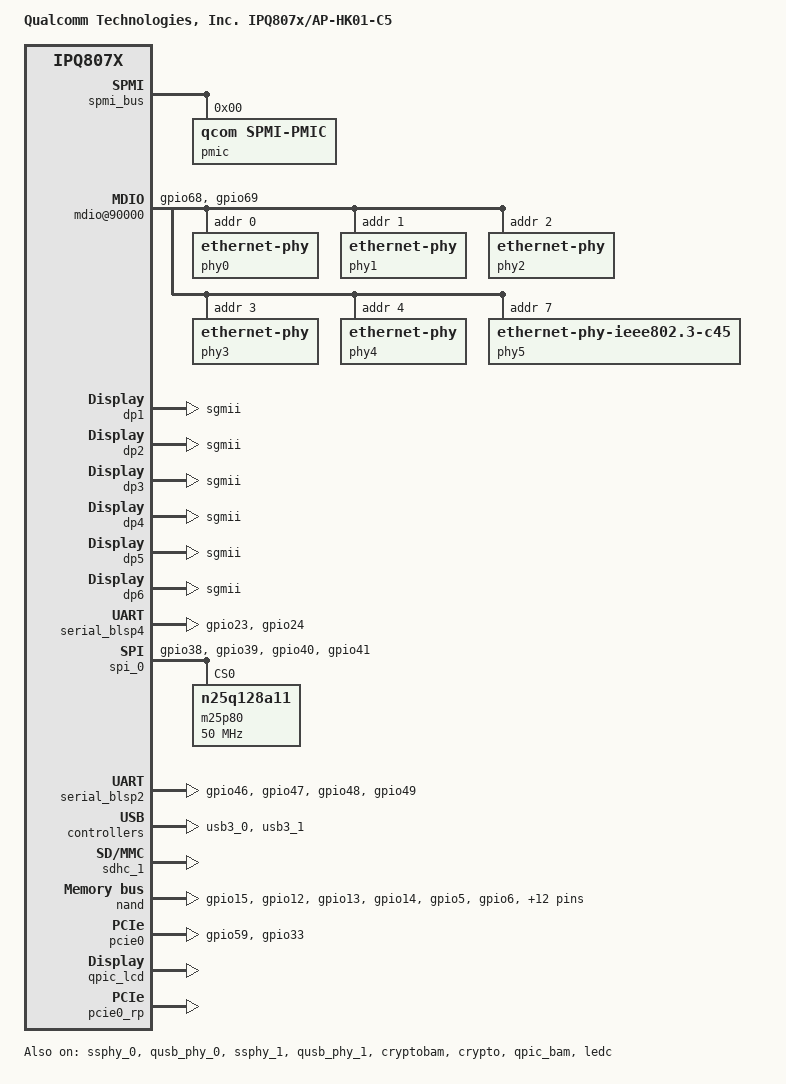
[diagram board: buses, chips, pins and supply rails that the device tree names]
/dts-v1/;
/*
 * Copyright (c) 2017-2019, The Linux Foundation. All rights reserved.
 *
 * Permission to use, copy, modify, and/or distribute this software for any
 * purpose with or without fee is hereby granted, provided that the above
 * copyright notice and this permission notice appear in all copies.
 *
 * THE SOFTWARE IS PROVIDED "AS IS" AND THE AUTHOR DISCLAIMS ALL WARRANTIES
 * WITH REGARD TO THIS SOFTWARE INCLUDING ALL IMPLIED WARRANTIES OF
 * MERCHANTABILITY AND FITNESS. IN NO EVENT SHALL THE AUTHOR BE LIABLE FOR
 * ANY SPECIAL, DIRECT, INDIRECT, OR CONSEQUENTIAL DAMAGES OR ANY DAMAGES
 * WHATSOEVER RESULTING FROM LOSS OF USE, DATA OR PROFITS, WHETHER IN AN
 * ACTION OF CONTRACT, NEGLIGENCE OR OTHER TORTIOUS ACTION, ARISING OUT OF
 * OR IN CONNECTION WITH THE USE OR PERFORMANCE OF THIS SOFTWARE.
 */
#include "qcom-ipq807x-soc.dtsi"
#include "qcom-ipq807x-hk-cpu.dtsi"
#include <dt-bindings/pinctrl/qcom,pmic-gpio.h>

/ {
	#address-cells = <0x2>;
	#size-cells = <0x2>;
	model = "Qualcomm Technologies, Inc. IPQ807x/AP-HK01-C5";
	compatible = "qcom,ipq807x-hk01", "qcom,ipq807x";
	qcom,msm-id = <0x143 0x0>, <0x158 0x0>, <0x186 0x0>, <0x188 0x0>;
	interrupt-parent = <&intc>;
	qcom,board-id = <0x8 0x0>;
	qcom,pmic-id = <0x0 0x0 0x0 0x0>;

	aliases {
		sdhc1 = &sdhc_1; /* SDC1 eMMC slot */
		/*
		 * Aliases as required by u-boot
		 * to patch MAC addresses
		 */
		ethernet0 = "/soc/dp1";
		ethernet1 = "/soc/dp2";
		ethernet2 = "/soc/dp3";
		ethernet3 = "/soc/dp4";
		ethernet4 = "/soc/dp5";
		ethernet5 = "/soc/dp6";
	};

	chosen {
		bootargs = "console=ttyMSM0,115200,n8 root=/dev/ram0 rw init=/init";
		bootargs-append = " swiotlb=1";
	};
};

&spmi_bus {
	pmic@0 {
		compatible ="qcom,spmi-pmic";
		reg = <0x0 SPMI_USID>;
		#address-cells = <1>;
		#size-cells = <0>;

		pmm8074_gpios: gpios@c000 {
			compatible = "qcom,pma8084-gpio";
			reg = <0xc000 0xc00>;
			gpio-controller;
			#gpio-cells = <2>;
			interrupts = <0 0xc0 0 IRQ_TYPE_NONE>,
				     <0 0xc1 0 IRQ_TYPE_NONE>,
				     <0 0xc2 0 IRQ_TYPE_NONE>,
				     <0 0xc3 0 IRQ_TYPE_NONE>,
				     <0 0xc4 0 IRQ_TYPE_NONE>,
				     <0 0xc5 0 IRQ_TYPE_NONE>,
				     <0 0xc6 0 IRQ_TYPE_NONE>,
				     <0 0xc7 0 IRQ_TYPE_NONE>,
				     <0 0xc8 0 IRQ_TYPE_NONE>,
				     <0 0xc9 0 IRQ_TYPE_NONE>,
				     <0 0xca 0 IRQ_TYPE_NONE>,
				     <0 0xcb 0 IRQ_TYPE_NONE>;
			pinctrl-0 = <&pmm8074_gpio>;
			pinctrl-names = "default";

			pmm8074_gpio: pmm8074_gpio {
				pinconf {
					pins = "gpio6";
					function = PMIC_GPIO_FUNC_NORMAL;
					bias-pull-up;
					output-high;
				};
			};
		};
	};
};

&tlmm {
	pinctrl-0 = <&pcie_sdx_gpio>;
	pinctrl-names = "default";
	pcie_sdx_gpio: pcie_sdx_gpio {
		ap2mdm_err_ftl {
			pins = "gpio27";
			function = "gpio";
			drive-strength = <8>;
			bias-pull-down;
		};
		sdx_pon_gpio {
			pins = "gpio30";
			function = "gpio";
			drive-strength = <8>;
			bias-pull-up;
			output-high;
		};
	};

	ap2mdm_status: ap2mdm_status {
		pins = "gpio26";
		function = "gpio";
		drive-strength = <8>;
		bias-pull-up;
		output-high;
	};

	mdm2ap_e911_status: mdm2ap_e911_status {
		pins = "gpio33";
		drive-strength = <8>;
		bias-pull-down;
	};

	pcie_wake_pins: pcie0_wake_gpio {
		pins = "gpio59";
		function = "pcie0_wake";
		drive-strength = <8>;
		bias-pull-up;
	};

	mdio_pins: mdio_pinmux {
		mux_0 {
			pins = "gpio68";
			function = "mdc";
			drive-strength = <8>;
			bias-pull-up;
		};
		mux_1 {
			pins = "gpio69";
			function = "mdio";
			drive-strength = <8>;
			bias-pull-up;
		};
	};

	uart_pins: uart_pins {
		mux {
			pins = "gpio23", "gpio24";
			function = "blsp4_uart1";
			drive-strength = <8>;
			bias-disable;
		};
	};

	spi_0_pins: spi_0_pins {
		mux {
			pins = "gpio38", "gpio39", "gpio40", "gpio41";
			function = "blsp0_spi";
			drive-strength = <8>;
			bias-disable;
		};
	};

	qpic_pins: qpic_pins {
		data_0 {
			pins = "gpio15";
			function = "qpic_pad0";
			drive-strength = <8>;
			bias-disable;
		};
		data_1 {
			pins = "gpio12";
			function = "qpic_pad1";
			drive-strength = <8>;
			bias-disable;
		};
		data_2 {
			pins = "gpio13";
			function = "qpic_pad2";
			drive-strength = <8>;
			bias-disable;
		};
		data_3 {
			pins = "gpio14";
			function = "qpic_pad3";
			drive-strength = <8>;
			bias-disable;
		};
		data_4 {
			pins = "gpio5";
			function = "qpic_pad4";
			drive-strength = <8>;
			bias-disable;
		};
		data_5 {
			pins = "gpio6";
			function = "qpic_pad5";
			drive-strength = <8>;
			bias-disable;
		};
		data_6 {
			pins = "gpio7";
			function = "qpic_pad6";
			drive-strength = <8>;
			bias-disable;
		};
		data_7 {
			pins = "gpio8";
			function = "qpic_pad7";
			drive-strength = <8>;
			bias-disable;
		};
		data_8 {
			pins = "gpio16";
			function = "qpic_pad8";
			drive-strength = <8>;
			bias-disable;
		};
		qpic_pad {
			pins = "gpio0", "gpio1", "gpio2", "gpio3", "gpio4",
			       "gpio9", "gpio10", "gpio11", "gpio17";
			function = "qpic_pad";
			drive-strength = <8>;
			bias-disable;
		};
	};

	hsuart_pins: hsuart_pins {
		mux {
			pins = "gpio46", "gpio47", "gpio48", "gpio49";
			function = "blsp2_uart";
			drive-strength = <8>;
			bias-disable;
		};
	};

	ledc_pins: ledc_pinmux {
		led_clk {
			pins = "gpio18";
			function = "led0";
			drive-strength = <8>;
			bias-pull-down;
		};
		led_data {
			pins = "gpio19";
			function = "led1";
			drive-strength = <8>;
			bias-pull-down;
		};
		led_clr {
			pins = "gpio20";
			function = "led2";
			drive-strength = <8>;
			bias-pull-up;
		};
	};
};

&soc {
	mdio@90000 {
		pinctrl-0 = <&mdio_pins>;
		pinctrl-names = "default";
		phy-reset-gpio = <&tlmm 37 0>;
		phy0: ethernet-phy@0 {
			reg = <0>;
		};
		phy1: ethernet-phy@1 {
			reg = <1>;
		};
		phy2: ethernet-phy@2 {
			reg = <2>;
		};
		phy3: ethernet-phy@3 {
			reg = <3>;
		};
		phy4: ethernet-phy@4 {
			reg = <4>;
		};
		phy5: ethernet-phy@5 {
			compatible ="ethernet-phy-ieee802.3-c45";
			reg = <7>;
		};
	};

	ess-switch@3a000000 {
		switch_cpu_bmp = <0x1>;  /* cpu port bitmap */
		switch_lan_bmp = <0x3e>; /* lan port bitmap */
		switch_wan_bmp = <0x40>; /* wan port bitmap */
		switch_mac_mode = <0x0>; /* mac mode for uniphy instance0*/
		switch_mac_mode1 = <0xff>; /* mac mode for uniphy instance1*/
		switch_mac_mode2 = <0xd>; /* mac mode for uniphy instance2*/
		bm_tick_mode = <0>; /* bm tick mode */
		tm_tick_mode = <0>; /* tm tick mode */
		port_scheduler_resource {
			port@0 {
				port_id = <0>;
				ucast_queue = <0 143>;
				mcast_queue = <256 271>;
				l0sp = <0 35>;
				l0cdrr = <0 47>;
				l0edrr = <0 47>;
				l1cdrr = <0 7>;
				l1edrr = <0 7>;
			};
			port@1 {
				port_id = <1>;
				ucast_queue = <144 159>;
				mcast_queue = <272 275>;
				l0sp = <36 39>;
				l0cdrr = <48 63>;
				l0edrr = <48 63>;
				l1cdrr = <8 11>;
				l1edrr = <8 11>;
			};
			port@2 {
				port_id = <2>;
				ucast_queue = <160 175>;
				mcast_queue = <276 279>;
				l0sp = <40 43>;
				l0cdrr = <64 79>;
				l0edrr = <64 79>;
				l1cdrr = <12 15>;
				l1edrr = <12 15>;
			};
			port@3 {
				port_id = <3>;
				ucast_queue = <176 191>;
				mcast_queue = <280 283>;
				l0sp = <44 47>;
				l0cdrr = <80 95>;
				l0edrr = <80 95>;
				l1cdrr = <16 19>;
				l1edrr = <16 19>;
			};
			port@4 {
				port_id = <4>;
				ucast_queue = <192 207>;
				mcast_queue = <284 287>;
				l0sp = <48 51>;
				l0cdrr = <96 111>;
				l0edrr = <96 111>;
				l1cdrr = <20 23>;
				l1edrr = <20 23>;
			};
			port@5 {
				port_id = <5>;
				ucast_queue = <208 223>;
				mcast_queue = <288 291>;
				l0sp = <52 55>;
				l0cdrr = <112 127>;
				l0edrr = <112 127>;
				l1cdrr = <24 27>;
				l1edrr = <24 27>;
			};
			port@6 {
				port_id = <6>;
				ucast_queue = <224 239>;
				mcast_queue = <292 295>;
				l0sp = <56 59>;
				l0cdrr = <128 143>;
				l0edrr = <128 143>;
				l1cdrr = <28 31>;
				l1edrr = <28 31>;
			};
			port@7 {
				port_id = <7>;
				ucast_queue = <240 255>;
				mcast_queue = <296 299>;
				l0sp = <60 63>;
				l0cdrr = <144 159>;
				l0edrr = <144 159>;
				l1cdrr = <32 35>;
				l1edrr = <32 35>;
			};
		};
		port_scheduler_config {
			port@0 {
				port_id = <0>;
				l1scheduler {
					group@0 {
						sp = <0 1>; /*L0 SPs*/
						/*cpri cdrr epri edrr*/
						cfg = <0 0 0 0>;
					};
				};
				l0scheduler {
					group@0 {
						/*unicast queues*/
						ucast_queue = <0 4 8>;
						/*multicast queues*/
						mcast_queue = <256 260>;
						/*sp cpri cdrr epri edrr*/
						cfg = <0 0 0 0 0>;
					};
					group@1 {
						ucast_queue = <1 5 9>;
						mcast_queue = <257 261>;
						cfg = <0 1 1 1 1>;
					};
					group@2 {
						ucast_queue = <2 6 10>;
						mcast_queue = <258 262>;
						cfg = <0 2 2 2 2>;
					};
					group@3 {
						ucast_queue = <3 7 11>;
						mcast_queue = <259 263>;
						cfg = <0 3 3 3 3>;
					};
				};
			};
			port@1 {
				port_id = <1>;
				l1scheduler {
					group@0 {
						sp = <36>;
						cfg = <0 8 0 8>;
					};
					group@1 {
						sp = <37>;
						cfg = <1 9 1 9>;
					};
				};
				l0scheduler {
					group@0 {
						ucast_queue = <144>;
						ucast_loop_pri = <16>;
						mcast_queue = <272>;
						mcast_loop_pri = <4>;
						cfg = <36 0 48 0 48>;
					};
				};
			};
			port@2 {
				port_id = <2>;
				l1scheduler {
					group@0 {
						sp = <40>;
						cfg = <0 12 0 12>;
					};
					group@1 {
						sp = <41>;
						cfg = <1 13 1 13>;
					};
				};
				l0scheduler {
					group@0 {
						ucast_queue = <160>;
						ucast_loop_pri = <16>;
						mcast_queue = <276>;
						mcast_loop_pri = <4>;
						cfg = <40 0 64 0 64>;
					};
				};
			};
			port@3 {
				port_id = <3>;
				l1scheduler {
					group@0 {
						sp = <44>;
						cfg = <0 16 0 16>;
					};
					group@1 {
						sp = <45>;
						cfg = <1 17 1 17>;
					};
				};
				l0scheduler {
					group@0 {
						ucast_queue = <176>;
						ucast_loop_pri = <16>;
						mcast_queue = <280>;
						mcast_loop_pri = <4>;
						cfg = <44 0 80 0 80>;
					};
				};
			};
			port@4 {
				port_id = <4>;
				l1scheduler {
					group@0 {
						sp = <48>;
						cfg = <0 20 0 20>;
					};
					group@1 {
						sp = <49>;
						cfg = <1 21 1 21>;
					};
				};
				l0scheduler {
					group@0 {
						ucast_queue = <192>;
						ucast_loop_pri = <16>;
						mcast_queue = <284>;
						mcast_loop_pri = <4>;
						cfg = <48 0 96 0 96>;
					};
				};
			};
			port@5 {
				port_id = <5>;
				l1scheduler {
					group@0 {
						sp = <52>;
						cfg = <0 24 0 24>;
					};
					group@1 {
						sp = <53>;
						cfg = <1 25 1 25>;
					};
				};
				l0scheduler {
					group@0 {
						ucast_queue = <208>;
						ucast_loop_pri = <16>;
						mcast_queue = <288>;
						mcast_loop_pri = <4>;
						cfg = <52 0 112 0 112>;
					};
				};
			};
			port@6 {
				port_id = <6>;
				l1scheduler {
					group@0 {
						sp = <56>;
						cfg = <0 28 0 28>;
					};
					group@1 {
						sp = <57>;
						cfg = <1 29 1 29>;
					};
				};
				l0scheduler {
					group@0 {
						ucast_queue = <224>;
						ucast_loop_pri = <16>;
						mcast_queue = <292>;
						mcast_loop_pri = <4>;
						cfg = <56 0 128 0 128>;
					};
				};
			};
			port@7 {
				port_id = <7>;
				l1scheduler {
					group@0 {
						sp = <60>;
						cfg = <0 32 0 32>;
					};
					group@1 {
						sp = <61>;
						cfg = <1 33 1 33>;
					};
				};
				l0scheduler {
					group@0 {
						ucast_queue = <240>;
						ucast_loop_pri = <16>;
						mcast_queue = <296>;
						cfg = <60 0 144 0 144>;
					};
				};
			};
		};
	};

	dp1 {
		device_type = "network";
		compatible = "qcom,nss-dp";
		qcom,id = <1>;
		reg = <0x3a001000 0x200>;
		qcom,mactype = <0>;
		local-mac-address = [000000000000];
		qcom,link-poll = <1>;
		qcom,phy-mdio-addr = <0>;
		phy-mode = "sgmii";
	};

	dp2 {
		device_type = "network";
		compatible = "qcom,nss-dp";
		qcom,id = <2>;
		reg = <0x3a001200 0x200>;
		qcom,mactype = <0>;
		local-mac-address = [000000000000];
		qcom,link-poll = <1>;
		qcom,phy-mdio-addr = <1>;
		phy-mode = "sgmii";
	};

	dp3 {
		device_type = "network";
		compatible = "qcom,nss-dp";
		qcom,id = <3>;
		reg = <0x3a001400 0x200>;
		qcom,mactype = <0>;
		local-mac-address = [000000000000];
		qcom,link-poll = <1>;
		qcom,phy-mdio-addr = <2>;
		phy-mode = "sgmii";
	};

	dp4 {
		device_type = "network";
		compatible = "qcom,nss-dp";
		qcom,id = <4>;
		reg = <0x3a001600 0x200>;
		qcom,mactype = <0>;
		local-mac-address = [000000000000];
		qcom,link-poll = <1>;
		qcom,phy-mdio-addr = <3>;
		phy-mode = "sgmii";
	};

	dp5 {
		device_type = "network";
		compatible = "qcom,nss-dp";
		qcom,id = <5>;
		reg = <0x3a001800 0x200>;
		qcom,mactype = <0>;
		local-mac-address = [000000000000];
		qcom,link-poll = <1>;
		qcom,phy-mdio-addr = <4>;
		phy-mode = "sgmii";
	};

	dp6 {
		device_type = "network";
		compatible = "qcom,nss-dp";
		qcom,id = <6>;
		reg = <0x3a007000 0x3fff>;
		qcom,mactype = <1>;
		local-mac-address = [000000000000];
		qcom,link-poll = <1>;
		qcom,phy-mdio-addr = <7>;
		phy-mode = "sgmii";
	};
};

&serial_blsp4 {
	pinctrl-0 = <&uart_pins>;
	pinctrl-names = "default";
	status = "ok";
};

&spi_0 { /* BLSP1 QUP1 */
	pinctrl-0 = <&spi_0_pins>;
	pinctrl-names = "default";
	cs-select = <0>;
	status = "ok";

	m25p80@0 {
		#address-cells = <1>;
		#size-cells = <1>;
		reg = <0>;
		compatible = "n25q128a11";
		linux,modalias = "m25p80", "n25q128a11";
		spi-max-frequency = <50000000>;
		use-default-sizes;
	};
};

&serial_blsp2 {
	pinctrl-0 = <&hsuart_pins>;
	pinctrl-names = "default";
	status = "ok";
};

&msm_imem {
	status = "enabled";
};

&ssphy_0 {
	status = "ok";
};

&qusb_phy_0 {
	status = "ok";
};

&ssphy_1 {
	status = "ok";
};

&qusb_phy_1 {
	status = "ok";
};

&usb3_0 {
	status = "ok";
};

&usb3_1 {
	status = "ok";
};

&cryptobam {
	status = "ok";
};

&crypto {
	status = "ok";
};

&sdhc_1 {
	qcom,clk-rates = <400000 25000000 50000000 100000000 \
			 192000000 384000000>;
	qcom,bus-speed-mode = "HS400_1p8v", "HS200_1p8v", "DDR_1p8v";
	qcom,nonremovable;
	status = "ok";
};

&qpic_bam {
	status = "ok";
};

&nand {
	pinctrl-0 = <&qpic_pins>;
	pinctrl-names = "default";
	status = "ok";
};

&pcie0 {
	interrupts-extended = <&intc 0 52 0>, <&intc 0 416 0>, <&intc 0 417 0>,
				<&intc 0 418 0>, <&intc 0 419 0>, <&intc 0 420 0>,
				<&intc 0 421 0>, <&intc 0 422 0>, <&intc 0 423 0>,
				<&intc 0 424 0>, <&intc 0 425 0>, <&intc 0 426 0>,
				<&intc 0 427 0>, <&intc 0 428 0>, <&intc 0 429 0>,
				<&intc 0 430 0>, <&intc 0 431 0>, <&tlmm 59 0>,
				<&tlmm 33 0>;

	interrupt-names = "msi", "msi_0", "msi_1",
			"msi_2", "msi_3", "msi_4",
			"msi_5", "msi_6", "msi_7",
			"msi_8", "msi_9", "msi_10",
			"msi_11", "msi_12", "msi_13",
			"msi_14", "msi_15", "wake_gpio",
			"mdm2ap_e911";

	pinctrl-0 = <&pcie_wake_pins &mdm2ap_e911_status>;
	e911-gpio =  <&tlmm 33 GPIO_ACTIVE_HIGH>;
	pinctrl-names = "default";
	link_retries_count = <100>;
	use_delay = <0>;
	slot_id = <0>;
};

&pcie1 {
	status = "disabled";
};

&qpic_lcd {
	status = "ok";
};

&qpic_lcd_panel {
	status = "ok";
};

&ledc {
	pinctrl-0 = <&ledc_pins>;
	pinctrl-names = "default";
	status = "ok";
	led0 {
		label = "ipq::led0";
		linux,default-trigger = "led_wifi_son_green";
	};
	led1 {
		label = "ipq::led1";
		linux,default-trigger = "led_wifi_son_orange";
	};
	led2 {
		label = "ipq::led2";
		linux,default-trigger = "led_wifi_son_blue";
	};
	led3 {
		label = "ipq::led3";
		linux,default-trigger = "led_2g";
	};
	led4 {
		label = "ipq::led4";
		linux,default-trigger = "led_5gl";
	};
	led5 {
		label = "ipq::led5";
		linux,default-trigger = "led_5gh";
	};
	led6 {
		label = "ipq::led6";
		linux,default-trigger = "led_lan";
	};
	led7 {
		label = "ipq::led7";
		linux,default-trigger = "led_wan";
	};
	led8 {
		label = "ipq::led8";
		linux,default-trigger = "led_10g_link";
	};
	led9 {
		label = "ipq::led9";
		linux,default-trigger = "led_sfp";
	};
	led10 {
		label = "ipq::led10";
		linux,default-trigger = "led_bt";
	};
	led11 {
		label = "ipq::led11";
		linux,default-trigger = "none";
	};
	led12 {
		label = "ipq::led12";
		linux,default-trigger = "none";
	};
};

&watchdog {
	mhi-wdt-panic-enable;
};

&pcie0_rp {

	#address-cells = <5>;
	#size-cells = <0>;

	status = "ok";
	aliases {
		mhi-netdev0 = &mhi_netdev_0;
		mhi_netdev2 = &mhi_netdev_2;
	};
	mhi_0: qcom,mhi@0 {
		reg = <0 0 0 0 0 >;

		ap2mdm = <26>;
		mdm2ap = <25>;

		pinctrl-0 = <&ap2mdm_status>;
		pinctrl-names = "default";
		/* controller specific configuration */
		qcom,iommu-dma = "disabled";


		/* mhi bus specific settings */
		mhi,max-channels = <110>;
		mhi,timeout = <60000>;
		mhi,ssr-negotiate;

		mhi_channels: mhi_channels {
			#address-cells = <1>;
			#size-cells = <0>;

			mhi_chan@0 {
				reg = <0>;
				label = "LOOPBACK";
				mhi,num-elements = <64>;
				mhi,event-ring = <2>;
				mhi,chan-dir = <1>;
				mhi,data-type = <0>;
				mhi,doorbell-mode = <2>;
				mhi,ee = <0x4>;
			};

			mhi_chan@1 {
				reg = <1>;
				label = "LOOPBACK";
				mhi,num-elements = <64>;
				mhi,event-ring = <2>;
				mhi,chan-dir = <2>;
				mhi,data-type = <0>;
				mhi,doorbell-mode = <2>;
				mhi,ee = <0x4>;
			};

			mhi_chan@2 {
				reg = <2>;
				label = "SAHARA";
				mhi,num-elements = <128>;
				mhi,event-ring = <1>;
				mhi,chan-dir = <1>;
				mhi,data-type = <0>;
				mhi,doorbell-mode = <2>;
				mhi,ee = <0x2>;
			};

			mhi_chan@3 {
				reg = <3>;
				label = "SAHARA";
				mhi,num-elements = <128>;
				mhi,event-ring = <1>;
				mhi,chan-dir = <2>;
				mhi,data-type = <0>;
				mhi,doorbell-mode = <2>;
				mhi,ee = <0x2>;
			};

			mhi_chan@4 {
				reg = <4>;
				label = "DIAG";
				mhi,num-elements = <64>;
				mhi,event-ring = <1>;
				mhi,chan-dir = <1>;
				mhi,data-type = <0>;
				mhi,doorbell-mode = <2>;
				mhi,ee = <0x4>;
			};

			mhi_chan@5 {
				reg = <5>;
				label = "DIAG";
				mhi,num-elements = <64>;
				mhi,event-ring = <3>;
				mhi,chan-dir = <2>;
				mhi,data-type = <0>;
				mhi,doorbell-mode = <2>;
				mhi,ee = <0x4>;
			};

			mhi_chan@14 {
				reg = <14>;
				label = "QMI0";
				mhi,num-elements = <64>;
				mhi,event-ring = <1>;
				mhi,chan-dir = <1>;
				mhi,data-type = <0>;
				mhi,doorbell-mode = <2>;
				mhi,ee = <0x4>;
			};

			mhi_chan@15 {
				reg = <15>;
				label = "QMI0";
				mhi,num-elements = <64>;
				mhi,event-ring = <2>;
				mhi,chan-dir = <2>;
				mhi,data-type = <0>;
				mhi,doorbell-mode = <2>;
				mhi,ee = <0x4>;
			};

			mhi_chan@16 {
				reg = <16>;
				label = "QMI1";
				mhi,num-elements = <64>;
				mhi,event-ring = <3>;
				mhi,chan-dir = <1>;
				mhi,data-type = <0>;
				mhi,doorbell-mode = <2>;
				mhi,ee = <0x4>;
			};

			mhi_chan@17 {
				reg = <17>;
				label = "QMI1";
				mhi,num-elements = <64>;
				mhi,event-ring = <3>;
				mhi,chan-dir = <2>;
				mhi,data-type = <0>;
				mhi,doorbell-mode = <2>;
				mhi,ee = <0x4>;
			};

			mhi_chan@18 {
				reg = <18>;
				label = "IP_CTRL";
				mhi,num-elements = <64>;
				mhi,event-ring = <1>;
				mhi,chan-dir = <1>;
				mhi,data-type = <0>;
				mhi,doorbell-mode = <2>;
				mhi,ee = <0x4>;
			};

			mhi_chan@19 {
				reg = <19>;
				label = "IP_CTRL";
				mhi,num-elements = <64>;
				mhi,event-ring = <1>;
				mhi,chan-dir = <2>;
				mhi,data-type = <0>;
				mhi,doorbell-mode = <2>;
				mhi,ee = <0x4>;
				mhi,auto-queue;
			};

			mhi_chan@20 {
				reg = <20>;
				label = "IPCR";
				mhi,num-elements = <64>;
				mhi,event-ring = <2>;
				mhi,chan-dir = <1>;
				mhi,data-type = <1>;
				mhi,doorbell-mode = <2>;
				mhi,ee = <0x4>;
				mhi,auto-start;
			};

			mhi_chan@21 {
				reg = <21>;
				label = "IPCR";
				mhi,num-elements = <64>;
				mhi,event-ring = <2>;
				mhi,chan-dir = <2>;
				mhi,data-type = <0>;
				mhi,doorbell-mode = <2>;
				mhi,ee = <0x4>;
				mhi,auto-queue;
				mhi,auto-start;
			};

			mhi_chan@46 {
				reg = <46>;
				label = "IP_SW0";
				mhi,num-elements = <512>;
				mhi,event-ring = <4>;
				mhi,chan-dir = <1>;
				mhi,data-type = <1>;
				mhi,doorbell-mode = <2>;
				mhi,ee = <0x4>;
			};

			mhi_chan@47 {
				reg = <47>;
				label = "IP_SW0";
				mhi,num-elements = <512>;
				mhi,event-ring = <5>;
				mhi,chan-dir = <2>;
				mhi,data-type = <4>;
				mhi,doorbell-mode = <2>;
				mhi,ee = <0x4>;
			};

			mhi_chan@100 {
				reg = <100>;
				label = "IP_HW0";
				mhi,num-elements = <512>;
				mhi,event-ring = <6>;
				mhi,chan-dir = <1>;
				mhi,data-type = <1>;
				mhi,doorbell-mode = <3>;
				mhi,ee = <0x4>;
				mhi,db-mode-switch;
			};

			mhi_chan@101 {
				reg = <101>;
				label = "IP_HW0";
				mhi,num-elements = <512>;
				mhi,event-ring = <7>;
				mhi,chan-dir = <2>;
				mhi,data-type = <4>;
				mhi,doorbell-mode = <3>;
				mhi,ee = <0x4>;
			};

			mhi_chan@102 {
				reg = <102>;
				label = "IP_HW_ADPL";
				mhi,event-ring = <8>;
				mhi,chan-dir = <2>;
				mhi,data-type = <3>;
				mhi,ee = <0x4>;
				mhi,offload-chan;
				mhi,lpm-notify;
			};

			mhi_chan@105 {
				reg = <105>;
				label = "RMNET_CTL";
				mhi,num-elements = <128>;
				mhi,event-ring = <10>;
				mhi,chan-dir = <1>;
				mhi,data-type = <1>;
				mhi,doorbell-mode = <2>;
				mhi,ee = <0x4>;
			};

			mhi_chan@106 {
				reg = <106>;
				label = "RMNET_CTL";
				mhi,num-elements = <128>;
				mhi,event-ring = <11>;
				mhi,chan-dir = <2>;
				mhi,data-type = <0>;
				mhi,doorbell-mode = <2>;
				mhi,ee = <0x4>;
			};

		};

		mhi_events: mhi_events {
			#address-cells = <1>;
			#size-cells = <0>;

			mhi_event@0 {
				reg = <0>;
				mhi,num-elements = <32>;
				mhi,intmod = <1>;
				mhi,msi = <1>;
				mhi,priority = <1>;
				mhi,brstmode = <2>;
				mhi,data-type = <1>;
			};

			mhi_event@1 {
				mhi,num-elements = <256>;
				mhi,intmod = <1>;
				mhi,msi = <2>;
				mhi,priority = <1>;
				mhi,brstmode = <2>;
			};

			mhi_event@2 {
				mhi,num-elements = <256>;
				mhi,intmod = <1>;
				mhi,msi = <3>;
				mhi,priority = <1>;
				mhi,brstmode = <2>;
			};

			mhi_event@3 {
				mhi,num-elements = <256>;
				mhi,intmod = <1>;
				mhi,msi = <4>;
				mhi,priority = <1>;
				mhi,brstmode = <2>;
			};

			mhi_event@4 {
				mhi,num-elements = <1024>;
				mhi,intmod = <5>;
				mhi,msi = <5>;
				mhi,chan = <46>;
				mhi,priority = <1>;
				mhi,brstmode = <2>;
			};

			mhi_event@5 {
				mhi,num-elements = <1024>;
				mhi,intmod = <5>;
				mhi,msi = <6>;
				mhi,chan = <47>;
				mhi,priority = <1>;
				mhi,brstmode = <2>;
				mhi,client-manage;
			};


			mhi_event@6 {
				mhi,num-elements = <1024>;
				mhi,intmod = <5>;
				mhi,msi = <5>;
				mhi,chan = <100>;
				mhi,priority = <1>;
				mhi,brstmode = <3>;
				mhi,hw-ev;
			};

			mhi_event@7 {
				mhi,num-elements = <1024>;
				mhi,intmod = <5>;
				mhi,msi = <6>;
				mhi,chan = <101>;
				mhi,priority = <1>;
				mhi,brstmode = <3>;
				mhi,client-manage;
				mhi,hw-ev;
			};


			mhi_event@8 {
				mhi,num-elements = <0>;
				mhi,intmod = <0>;
				mhi,msi = <0>;
				mhi,chan = <102>;
				mhi,priority = <1>;
				mhi,brstmode = <3>;
				mhi,hw-ev;
				mhi,client-manage;
				mhi,offload;
			};

			mhi_event@9 {
				mhi,num-elements = <1024>;
				mhi,intmod = <5>;
				mhi,msi = <7>;
				mhi,chan = <103>;
				mhi,priority = <1>;
				mhi,brstmode = <2>;
				mhi,hw-ev;
			};

			mhi_event@10 {
				mhi,num-elements = <1024>;
				mhi,intmod = <1>;
				mhi,msi = <8>;
				mhi,chan = <105>;
				mhi,priority = <0>;
				mhi,brstmode = <2>;
				mhi,hw-ev;
			};

			mhi_event@11 {
				mhi,num-elements = <1024>;
				mhi,intmod = <0>;
				mhi,msi = <9>;
				mhi,chan = <106>;
				mhi,priority = <0>;
				mhi,brstmode = <2>;
				mhi,hw-ev;
			};

			mhi_event@12 {
				mhi,num-elements = <0>;
				mhi,intmod = <0>;
				mhi,msi = <0>;
				mhi,chan = <107>;
				mhi,priority = <1>;
				mhi,brstmode = <3>;
				mhi,hw-ev;
				mhi,client-manage;
				mhi,offload;
			};

			mhi_event@13 {
				mhi,num-elements = <0>;
				mhi,intmod = <0>;
				mhi,msi = <0>;
				mhi,chan = <108>;
				mhi,priority = <1>;
				mhi,brstmode = <3>;
				mhi,hw-ev;
				mhi,client-manage;
				mhi,offload;
			};
		};

		mhi_devices: mhi_devices {
			#address-cells = <1>;
			#size-cells = <0>;

			mhi_netdev_0: mhi_rmnet@0 {
				reg = <0x0>;
				mhi,chan = "IP_HW0";
				mhi,interface-name = "rmnet_mhi";
				mhi,mru = <0x4000>;
				mhi,chain-skb;
			};

			mhi_rmnet@1 {
				reg = <0x1>;
				mhi,chan = "IP_HW0_RSC";
				mhi,mru = <0x8000>;
				mhi,rsc-parent = <&mhi_netdev_0>;
			};

			mhi_netdev_2: mhi_rmnet@2 {
				reg = <0x2>;
				mhi,chan = "IP_SW0";
				mhi,interface-name = "rmnet_mhi_sw";
				mhi,mru = <0x4000>;
				mhi,disable-chain-skb;
			};

			mhi_qrtr {
				mhi,chan = "IPCR";
				qcom,net-id = <1>;
			};
		};

	};
};
